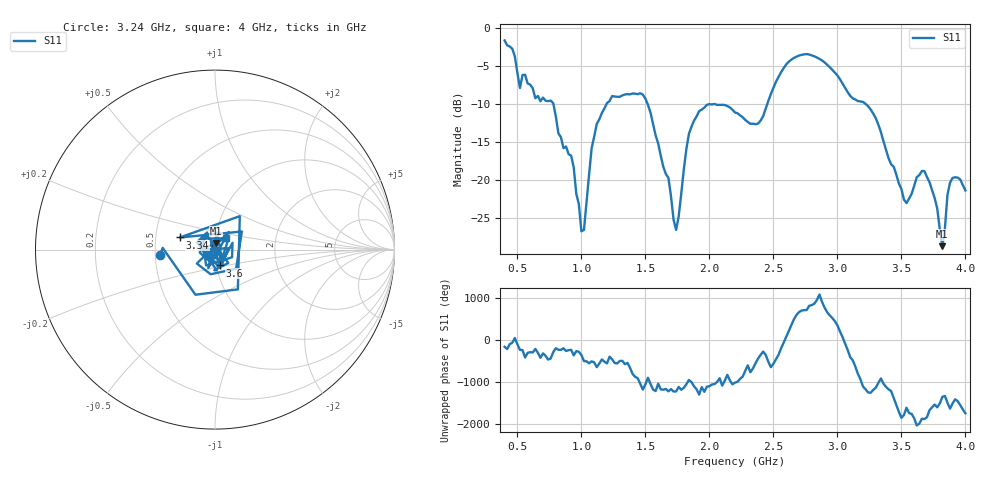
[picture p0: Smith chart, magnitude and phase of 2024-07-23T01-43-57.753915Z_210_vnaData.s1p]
!Created with skrf (http://scikit-rf.org).
# Hz S RI R 50.0
!freq ReS11 ImS11
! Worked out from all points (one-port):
!   181 points, 400 MHz to 4 GHz, reference 50 ohm
!   lowest |S11| = -28.6 dB at 3.82 GHz (marker M1), VSWR 1.08, Z = 50.5 + j3.69 ohm
!   |S11| at or under -10 dB: 781.4 MHz to 1.196 GHz (414.5 MHz wide, 41.9 % of centre); 1.518 GHz to 1.999 GHz (480.8 MHz wide, 27.3 % of centre); 3.222 GHz to end of sweep (the widest 3 of 5)
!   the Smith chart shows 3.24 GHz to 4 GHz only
!   S11 on the Smith chart (normalised r, x): 3.24 GHz: 0.53, -0.03; 3.34 GHz: 0.67, +0.09; 3.6 GHz: 1.04, -0.18; 4 GHz: 1.12, +0.14
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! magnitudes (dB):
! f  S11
! 400 MHz  -1.6
! 520 MHz  -7.9
! 780 MHz  -9.9
! 860 MHz  -15.8
! 920 MHz  -16.8
! 1.02 GHz  -26.5
! 1.08 GHz  -15.8
! 1.12 GHz  -12.6
! 1.3 GHz  -9.0
! 1.5 GHz  -9.3
! 1.68 GHz  -19.7
! 1.74 GHz  -26.5
! 1.76 GHz  -24.7
! 1.82 GHz  -15.9
! 1.88 GHz  -12.1
! 2.2 GHz  -11.1
! 2.38 GHz  -12.5
! 2.66 GHz  -3.9
! 2.88 GHz  -4.3
! 3.1 GHz  -8.9
! 3.24 GHz  -10.3
! 3.34 GHz  -13.7
! 3.56 GHz  -22.4
! 3.6 GHz  -20.7
! 3.68 GHz  -18.8
! 3.82 GHz  -28.6
! 3.88 GHz  -20.3
! 4 GHz  -21.3
